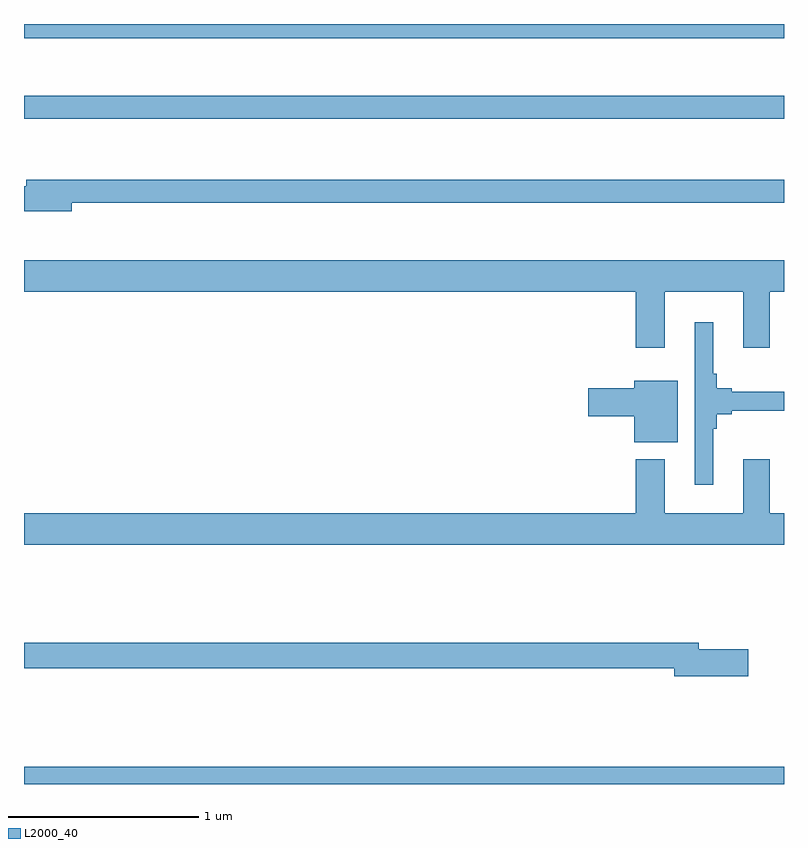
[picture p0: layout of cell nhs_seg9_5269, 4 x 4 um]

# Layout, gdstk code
import gdstk
lib = gdstk.Library(unit=1e-6, precision=1e-09)
def R(c, l, rs):  # rectangles x0, y0, x1, y1
    for r in rs: c.add(gdstk.rectangle(r[:2], r[2:], *l))
def P(c, l, *ps):  # polygons
    for p in ps: c.add(gdstk.Polygon(p, *l))
L2000_40 = (2000, 40)

nhs_seg9_5269 = lib.new_cell('nhs_seg9_5269')
R(nhs_seg9_5269, L2000_40, [(417,1188.5,421,1188.592), (417,1192.002,421,1192.123), (417,1192.424,421,1192.5)])
P(nhs_seg9_5269, L2000_40, [(417.25,1191.558),(421,1191.558),(421,1191.679),(417.011,1191.679),(417.011,1191.645),(417,1191.645),(417,1191.515),(417.25,1191.515)],
  [(420.373,1191.092),(420.785,1191.092),(420.785,1190.796),(420.925,1190.796),(420.925,1191.092),(421,1191.092),(421,1191.256),(417,1191.256),(417,1191.092),(420.221,1191.092),(420.221,1190.796),(420.373,1190.796)],
  [(420.628,1190.369),(420.647,1190.369),(420.647,1190.446),(420.724,1190.446),(420.724,1190.464),(420.98,1190.464),(420.98,1190.465),(421,1190.465),(421,1190.565),(420.724,1190.565),(420.724,1190.582),(420.647,1190.582),(420.647,1190.659),(420.628,1190.659),(420.628,1190.929),(420.531,1190.929),(420.531,1190.076),(420.628,1190.076)],
  [(420.442,1190.623),(420.212,1190.623),(420.212,1190.582),(419.97,1190.582),(419.97,1190.435),(420.212,1190.435),(420.212,1190.3),(420.442,1190.3)],
  [(421,1189.924),(420.925,1189.924),(420.925,1190.209),(420.785,1190.209),(420.785,1189.924),(420.373,1189.924),(420.373,1190.209),(420.221,1190.209),(420.221,1189.924),(417,1189.924),(417,1189.76),(421,1189.76)],
  [(420.811,1189.208),(420.55,1189.208),(420.55,1189.244),(417,1189.244),(417,1189.108),(420.422,1189.108),(420.422,1189.066),(420.811,1189.066)])

lib.write_gds('nhs_seg9_5269.gds')
